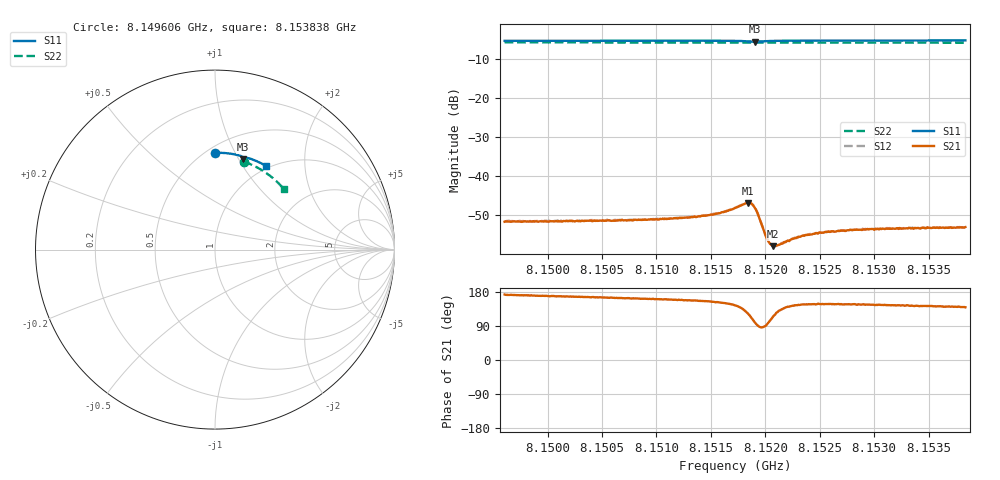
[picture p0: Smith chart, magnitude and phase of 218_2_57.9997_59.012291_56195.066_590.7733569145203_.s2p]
#  HZ  S  RI  R  50.00
! Rohde & Schwarz Vector Network Analyzer
! Rohde-Schwarz,ZNB20-2Port,1311601062101988,3.16
! Created: UTC 3/21/2024, 1:00:02 AM
! freq[Hz]  re:S11  im:S11  re:S21  im:S21  re:S12  im:S12  re:S22  im:S22
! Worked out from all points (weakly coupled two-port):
!   401 points, 8.149606 GHz to 8.153838 GHz, reference 50 ohm
!   highest |S21| = -46.84 dB at 8.151838 GHz (marker M1); lowest = -57.9 dB at 8.152071 GHz (marker M2)
!   lowest |S11| = -5.6 dB at 8.151902 GHz (marker M3), VSWR 3.23, Z = 37.3 + j52.1 ohm
!   |S11| at or under -10 dB: nowhere
!   |S22| runs from -5.8 to -5.7 dB; largest |S21 - S12| = 0.00012
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8.1496059e9  0.00274 0.5395  -0.0026 0.00033  -0.00263 0.000409  0.1614 0.4899
8.1503148e9  0.0524 0.5381  -0.00263 0.000615  -0.0026 0.000672  0.2041 0.473
8.1510236e9  0.102 0.532  -0.00264 0.00093  -0.00265 0.00101  0.245 0.4521
8.151341e9  0.1245 0.5275  -0.00277 0.00118  -0.00278 0.00121  0.2625 0.4417
8.1514679e9  0.1337 0.5252  -0.00287 0.00133  -0.00286 0.00141  0.2696 0.4375
8.1515737e9  0.1418 0.5227  -0.00297 0.00158  -0.00297 0.00164  0.2753 0.4336
8.1517219e9  0.1533 0.5171  -0.00319 0.0023  -0.00317 0.00234  0.283 0.4282
8.1518382e9  0.1594 0.5074  -0.0025 0.00381  -0.00246 0.00386  0.2891 0.4237
8.15187e9  0.1581 0.5045  -0.00169 0.00415  -0.00166 0.00421  0.2906 0.4223
8.1519017e9  0.1553 0.5038  -0.000694 0.00392  -0.00066 0.00399  0.292 0.4213
8.1519334e9  0.1535 0.5061  -2.11e-05 0.00324  3.45e-05 0.00329  0.2935 0.4201
8.1519863e9  0.1552 0.5108  7.97e-05 0.00204  0.000125 0.00203  0.2964 0.4184
8.1520181e9  0.1581 0.5126  -0.000137 0.00157  -0.00012 0.00156  0.298 0.4174
8.1520498e9  0.161 0.5135  -0.000385 0.00129  -0.00033 0.00131  0.2997 0.4162
8.152071e9  0.163 0.5137  -0.000528 0.00116  -0.0005 0.00122  0.3009 0.4153
8.1521027e9  0.166 0.514  -0.000751 0.00107  -0.0007 0.00108  0.3024 0.4141
8.152272e9  0.1799 0.5117  -0.00131 0.000939  -0.00131 0.000988  0.3111 0.4076
8.1524307e9  0.1915 0.5086  -0.00152 0.000976  -0.00154 0.00104  0.3191 0.4012
8.1525682e9  0.2009 0.5051  -0.00164 0.00104  -0.00162 0.00105  0.3258 0.3954
8.1527692e9  0.2143 0.5002  -0.00172 0.0011  -0.00169 0.00117  0.3355 0.387
8.1531395e9  0.2384 0.4898  -0.00174 0.00123  -0.00179 0.00124  0.3526 0.3708
8.1538378e9  0.2816 0.4677  -0.00169 0.00147  -0.0017 0.00143  0.3827 0.3381
